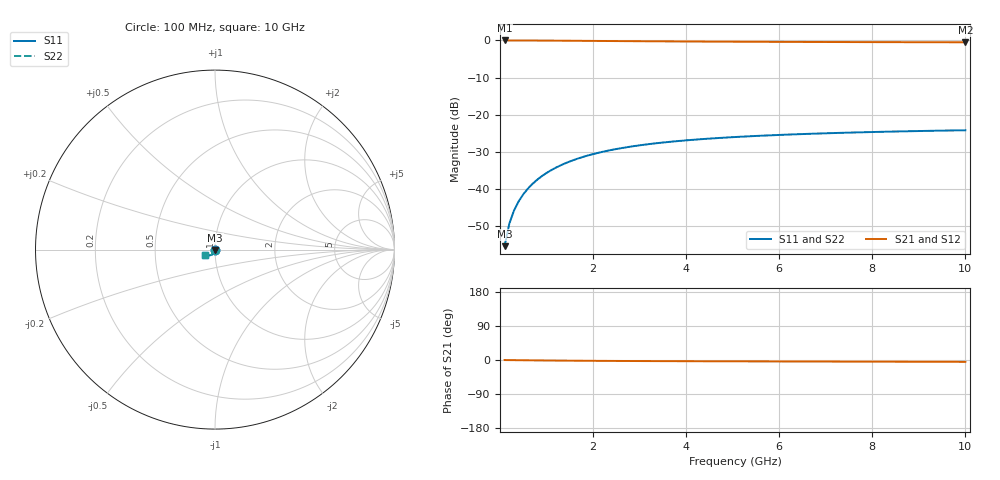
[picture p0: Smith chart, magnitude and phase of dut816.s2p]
! Touchstone file exported from HFSS 2024.1.0
!  File:  C:/UserFiles/LocalFiles/RDL_TSV_Batchsim/temp_TSV1_816_1779877724.aedt
!  Generated:  06:32:57 PM May 27, 2026
!  Design:  TSV1
!  Project:  temp_TSV1_816_1779877724
!  Setup:  Setup1
!  Solution:  Sweep
! Variables:
!  dtsv = 14.76um
!  hbump = 3um
!  htsv = 71.27um
!  lrdl = 252.1521522um
!  p = 40
!  p1 = 45.75um
!  t = 500um
!  trdl = 3um
!  wrdl = 24.89489489um
# GHz S MA R 50.000000
! Terminal data exported
! Port[1] = TSV22_T1
! Port[2] = TSV22_T2
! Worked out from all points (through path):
!   100 points, 100 MHz to 10 GHz, reference 50 ohm
!   highest |S21| = 0.00 dB at 100 MHz (marker M1); lowest = -0.5 dB at 10 GHz (marker M2)
!   lowest |S11| = -55.3 dB at 100 MHz (marker M3), VSWR 1.00, Z = 50 - j0.171 ohm
!   |S11| at or under -10 dB: start of sweep to end of sweep
!   |S22| runs from -55.3 to -24.1 dB; largest |S21 - S12| = 4e-15
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0.1  0.001713 -89.0  0.9999 -0.1  0.9999 -0.1  0.001713 -89.0
! Gamma 0 0 0 0
! Port Impedance 50 0 50 0
0.2  0.003424 -92.0  0.9997 -0.3  0.9997 -0.3  0.003424 -92.0
0.3  0.005132 -94.1  0.9995 -0.4  0.9995 -0.4  0.005132 -94.1
0.4  0.006829 -95.9  0.9991 -0.5  0.9991 -0.5  0.006829 -95.9
0.5  0.008509 -97.6  0.9987 -0.7  0.9987 -0.7  0.008509 -97.6
0.6  0.01017 -99.2  0.9982 -0.8  0.9982 -0.8  0.01017 -99.2
0.7  0.0118 -100.8  0.9976 -0.9  0.9976 -0.9  0.0118 -100.8
0.8  0.0134 -102.3  0.9969 -1.0  0.9969 -1.0  0.0134 -102.3
0.9  0.01497 -103.8  0.9962 -1.1  0.9962 -1.1  0.01497 -103.8
1.1  0.018 -106.7  0.9946 -1.4  0.9946 -1.4  0.018 -106.7
1.4  0.02225 -110.8  0.9918 -1.7  0.9918 -1.7  0.02225 -110.8
1.6  0.02488 -113.4  0.9899 -1.8  0.9899 -1.8  0.02488 -113.4
1.8  0.02734 -115.8  0.9879 -2.0  0.9879 -2.0  0.02734 -115.8
2.1  0.03071 -119.2  0.9849 -2.2  0.9849 -2.2  0.03071 -119.2
2.5  0.03468 -123.3  0.981 -2.5  0.981 -2.5  0.03468 -123.3
2.9  0.0381 -126.8  0.9773 -2.7  0.9773 -2.7  0.0381 -126.8
3.4  0.04174 -130.7  0.9731 -2.9  0.9731 -2.9  0.04174 -130.7
4.2  0.0464 -135.7  0.9671 -3.3  0.9671 -3.3  0.04641 -135.7
5.1  0.05045 -140.1  0.9616 -3.6  0.9616 -3.6  0.05045 -140.1
6.7  0.05566 -145.9  0.9542 -4.0  0.9542 -4.0  0.05566 -145.9
8.4  0.05946 -150.3  0.9487 -4.5  0.9487 -4.5  0.05946 -150.3
10  0.06202 -153.5  0.9449 -4.9  0.9449 -4.9  0.06202 -153.5
